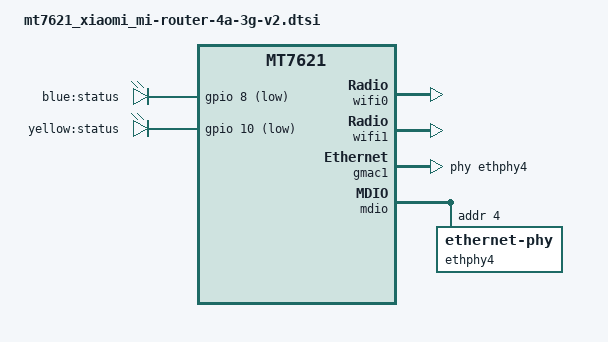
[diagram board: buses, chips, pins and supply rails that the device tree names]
// SPDX-License-Identifier: GPL-2.0-or-later OR MIT

#include "mt7621_xiaomi_mi-router-4a-common.dtsi"

/ {
	aliases {
		label-mac-device = &gmac1;
	};

	leds {
		compatible = "gpio-leds";

		led_status_blue: status_blue {
			label = "blue:status";
			gpios = <&gpio 8 GPIO_ACTIVE_LOW>;
		};

		led_status_yellow: status_yellow {
			label = "yellow:status";
			gpios = <&gpio 10 GPIO_ACTIVE_LOW>;
		};
	};
};

&wifi0 {
	mediatek,mtd-eeprom = <&factory 0x8000>;
	ieee80211-freq-limit = <5000000 6000000>;
};

&wifi1 {
	mediatek,mtd-eeprom = <&factory 0x0000>;
	ieee80211-freq-limit = <2400000 2500000>;
};

&gmac1 {
	status = "okay";
	label = "wan";
	phy-handle = <&ethphy4>;

	nvmem-cells = <&macaddr_factory_e006>;
	nvmem-cell-names = "mac-address";
};

&mdio {
	ethphy4: ethernet-phy@4 {
		reg = <4>;
	};
};

&switch0 {
	ports {
		port@2 {
			status = "okay";
			label = "lan2";
		};

		port@3 {
			status = "okay";
			label = "lan1";
		};
	};
};
